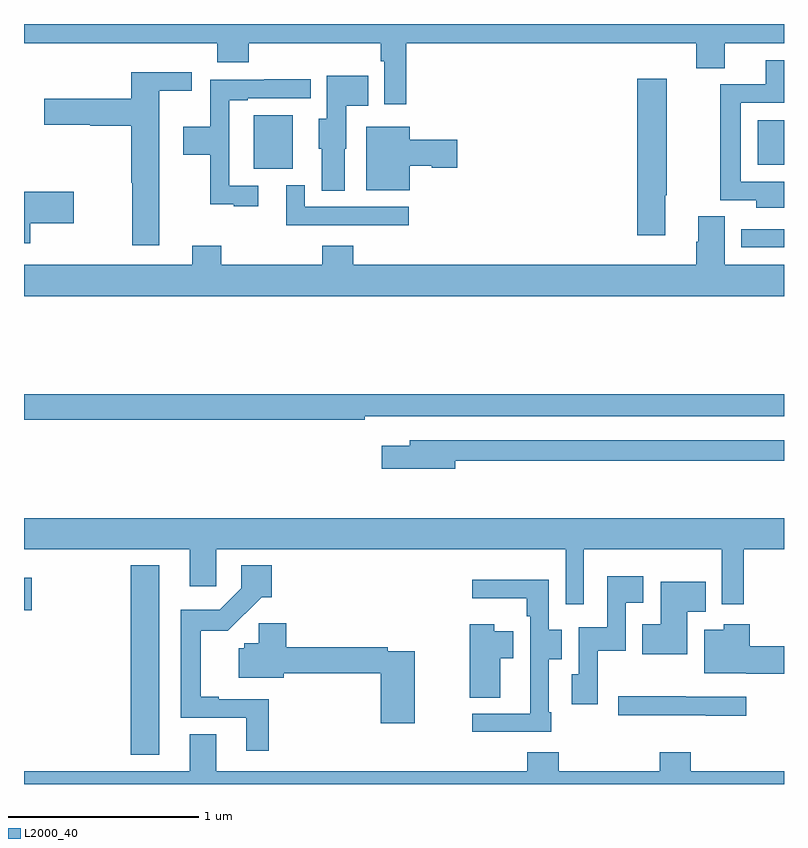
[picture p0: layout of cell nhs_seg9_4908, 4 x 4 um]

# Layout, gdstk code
import gdstk
lib = gdstk.Library(unit=1e-6, precision=1e-09)
def R(c, l, rs):  # rectangles x0, y0, x1, y1
    for r in rs: c.add(gdstk.rectangle(r[:2], r[2:], *l))
def P(c, l, *ps):  # polygons
    for p in ps: c.add(gdstk.Polygon(p, *l))
L2000_40 = (2000, 40)

nhs_seg9_4908 = lib.new_cell('nhs_seg9_4908')
R(nhs_seg9_4908, L2000_40, [(395.561,1212.653,395.713,1213.651), (395,1213.415,395.041,1213.585), (398.774,1215.324,399,1215.42), (396.209,1215.737,396.415,1216.021), (398.861,1215.758,399,1215.994)])
P(nhs_seg9_4908, L2000_40, [(397.013,1216.4),(398.537,1216.4),(398.537,1216.267),(398.689,1216.267),(398.689,1216.4),(399,1216.4),(399,1216.5),(395,1216.5),(395,1216.4),(396.017,1216.4),(396.017,1216.298),(396.182,1216.298),(396.182,1216.4),(396.877,1216.4),(396.877,1216.304),(396.897,1216.304),(396.897,1216.077),(397.013,1216.077)],
  [(399,1215.669),(398.772,1215.669),(398.772,1216.086),(399,1216.086),(399,1216.308),(398.903,1216.308),(398.903,1216.182),(398.664,1216.182),(398.664,1215.573),(398.854,1215.573),(398.854,1215.533),(399,1215.533)],
  [(395.713,1216.148),(395.884,1216.148),(395.884,1216.246),(395.564,1216.246),(395.564,1216.107),(395.106,1216.107),(395.106,1215.97),(395.349,1215.97),(395.349,1215.965),(395.564,1215.965),(395.564,1215.665),(395.569,1215.665),(395.569,1215.336),(395.713,1215.336)],
  [(396.688,1215.843),(396.697,1215.843),(396.697,1216.07),(396.812,1216.07),(396.812,1216.228),(396.593,1216.228),(396.593,1216.002),(396.551,1216.002),(396.551,1215.843),(396.566,1215.843),(396.566,1215.622),(396.688,1215.622)],
  [(398.374,1215.599),(398.382,1215.599),(398.382,1216.213),(398.228,1216.213),(398.228,1215.387),(398.374,1215.387)],
  [(396.232,1215.648),(396.081,1215.648),(396.081,1216.098),(396.178,1216.098),(396.178,1216.11),(396.508,1216.11),(396.508,1216.208),(396.265,1216.208),(396.265,1216.206),(395.98,1216.206),(395.98,1215.958),(395.838,1215.958),(395.838,1215.811),(395.98,1215.811),(395.98,1215.551),(396.104,1215.551),(396.104,1215.54),(396.232,1215.54)],
  [(397.03,1215.755),(397.146,1215.755),(397.146,1215.743),(397.279,1215.743),(397.279,1215.89),(397.03,1215.89),(397.03,1215.958),(396.8,1215.958),(396.8,1215.626),(397.03,1215.626)],
  [(397.024,1215.537),(396.477,1215.537),(396.477,1215.652),(396.38,1215.652),(396.38,1215.441),(397.024,1215.441)],
  [(395.032,1215.452),(395.263,1215.452),(395.263,1215.618),(395,1215.618),(395,1215.347),(395.032,1215.347)],
  [(399,1215.232),(398.689,1215.232),(398.689,1215.488),(398.549,1215.488),(398.549,1215.354),(398.537,1215.354),(398.537,1215.232),(396.734,1215.232),(396.734,1215.334),(396.569,1215.334),(396.569,1215.232),(396.038,1215.232),(396.038,1215.334),(395.885,1215.334),(395.885,1215.232),(395,1215.232),(395,1215.068),(399,1215.068)],
  [(396.794,1214.436),(399,1214.436),(399,1214.552),(395,1214.552),(395,1214.416),(396.794,1214.416)],
  [(397.27,1214.202),(399,1214.202),(399,1214.31),(397.031,1214.31),(397.031,1214.281),(396.882,1214.281),(396.882,1214.159),(397.27,1214.159)],
  [(397.947,1213.736),(398.673,1213.736),(398.673,1213.446),(398.789,1213.446),(398.789,1213.736),(399,1213.736),(399,1213.9),(395,1213.9),(395,1213.736),(395.873,1213.736),(395.873,1213.542),(396.012,1213.542),(396.012,1213.736),(397.851,1213.736),(397.851,1213.446),(397.947,1213.446)],
  [(396.287,1212.945),(396.025,1212.945),(396.025,1212.958),(395.929,1212.958),(395.929,1213.307),(396.073,1213.307),(396.251,1213.484),(396.305,1213.484),(396.305,1213.651),(396.144,1213.651),(396.144,1213.53),(396.03,1213.416),(395.825,1213.416),(395.825,1212.849),(396.17,1212.849),(396.17,1212.675),(396.287,1212.675)],
  [(398.019,1213.202),(398.166,1213.202),(398.166,1213.454),(398.26,1213.454),(398.26,1213.594),(398.07,1213.594),(398.07,1213.324),(397.92,1213.324),(397.92,1213.077),(397.883,1213.077),(397.883,1212.921),(398.019,1212.921)],
  [(397.774,1212.877),(397.761,1212.877),(397.761,1213.156),(397.831,1213.156),(397.831,1213.311),(397.761,1213.311),(397.761,1213.576),(397.359,1213.576),(397.359,1213.478),(397.645,1213.478),(397.645,1213.382),(397.665,1213.382),(397.665,1213.067),(397.664,1213.067),(397.664,1212.87),(397.359,1212.87),(397.359,1212.774),(397.774,1212.774)],
  [(398.491,1213.406),(398.588,1213.406),(398.588,1213.564),(398.351,1213.564),(398.351,1213.342),(398.255,1213.342),(398.255,1213.184),(398.491,1213.184)],
  [(397.056,1213.2),(396.914,1213.2),(396.914,1213.22),(396.38,1213.22),(396.38,1213.347),(396.235,1213.347),(396.235,1213.242),(396.159,1213.242),(396.159,1213.215),(396.131,1213.215),(396.131,1213.058),(396.367,1213.058),(396.367,1213.084),(396.878,1213.084),(396.878,1212.819),(397.056,1212.819)],
  [(399,1213.226),(398.819,1213.226),(398.819,1213.342),(398.684,1213.342),(398.684,1213.312),(398.579,1213.312),(398.579,1213.082),(398.802,1213.082),(398.802,1213.079),(399,1213.079)],
  [(397.507,1213.163),(397.576,1213.163),(397.576,1213.303),(397.474,1213.303),(397.474,1213.342),(397.345,1213.342),(397.345,1212.955),(397.507,1212.955)],
  [(398.8,1212.96),(398.483,1212.96),(398.483,1212.963),(398.127,1212.963),(398.127,1212.863),(398.587,1212.863),(398.587,1212.859),(398.8,1212.859)],
  [(399,1212.568),(398.51,1212.568),(398.51,1212.667),(398.345,1212.667),(398.345,1212.568),(397.814,1212.568),(397.814,1212.667),(397.649,1212.667),(397.649,1212.568),(396.013,1212.568),(396.013,1212.763),(395.873,1212.763),(395.873,1212.568),(395,1212.568),(395,1212.5),(399,1212.5)])

lib.write_gds('nhs_seg9_4908.gds')
